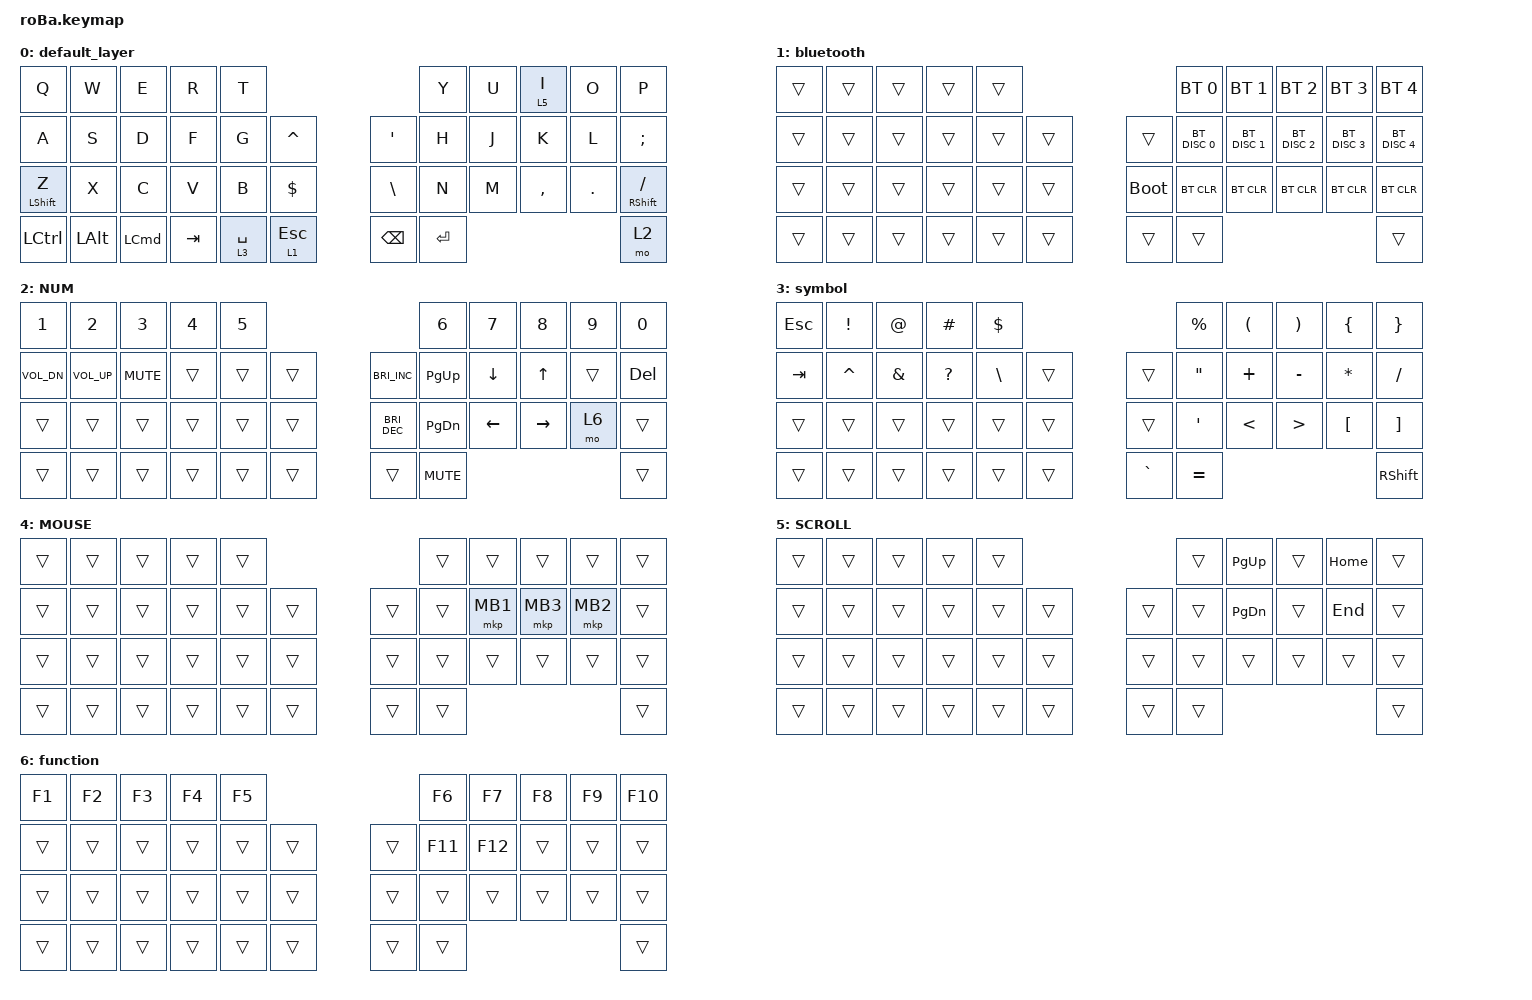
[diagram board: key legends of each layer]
#include <behaviors.dtsi>
#include <dt-bindings/zmk/bt.h>
#include <dt-bindings/zmk/keys.h>
#include <dt-bindings/zmk/pointing.h>

&mt {
    flavor = "balanced";
    quick-tap-ms = <0>;
};

&trackball {
    automouse-layer = <4>;
    scroll-layers = <5>;

    // arrows {
    //     layers = <3>;
    //     bindings =
    //         <&kp RIGHT_ARROW>,
    //         <&kp LEFT_ARROW>,
    //         <&kp UP_ARROW>,
    //         <&kp DOWN_ARROW>;
    //     tick = <10>;
    //     wait-ms = <5>;
    //     tap-ms = <5>;
    // };
};

/ {
    combos {
        compatible = "zmk,combos";

        esc {
            bindings = <&kp ESCAPE>;
            key-positions = <0 1>;
        };

        minus {
            bindings = <&kp MINUS>;
            key-positions = <7 8>;
        };

        eq {
            bindings = <&kp EQUAL>;
            key-positions = <8 9>;
        };

        backslash {
            bindings = <&kp BACKSLASH>;
            key-positions = <21 20>;
        };
    };

    macros {
        to_layer_0: to_layer_0 {
            compatible = "zmk,behavior-macro-one-param";
            #binding-cells = <1>;
            bindings = <&to 0 &macro_param_1to1 &kp MACRO_PLACEHOLDER>;
            label = "TO_LAYER_0";
        };
    };

    behaviors {
        lt_to_layer_0: lt_to_layer_0 {
            compatible = "zmk,behavior-hold-tap";
            label = "LAYER_TAP_TO_0";
            bindings = <&mo>, <&to_layer_0>;

            #binding-cells = <2>;
            tapping-term-ms = <200>;
        };
    };

    keymap {
        compatible = "zmk,keymap";

        default_layer {
            bindings = <
&kp Q             &kp W         &kp E             &kp R    &kp T                                                               &kp Y      &kp U  &lt 5 I    &kp O    &kp P
&kp A             &kp S         &kp D             &kp F    &kp G                   &kp CARET                    &kp SQT        &kp H      &kp J  &kp K      &kp L    &kp SEMICOLON
&mt LEFT_SHIFT Z  &kp X         &kp C             &kp V    &kp B                   &kp DOLLAR                   &kp BACKSLASH  &kp N      &kp M  &kp COMMA  &kp DOT  &mt RIGHT_SHIFT SLASH
&kp LCTRL         &kp LEFT_ALT  &kp LEFT_COMMAND  &kp TAB  &lt_to_layer_0 3 SPACE  &lt_to_layer_0 1 ESCAPE      &kp BACKSPACE  &kp ENTER                             &mo 2
            >;
        };

        bluetooth {
            bindings = <
&trans  &trans  &trans  &trans  &trans                           &bt BT_SEL 0   &bt BT_SEL 1   &bt BT_SEL 2   &bt BT_SEL 3   &bt BT_SEL 4
&trans  &trans  &trans  &trans  &trans  &trans      &trans       &bt BT_DISC 0  &bt BT_DISC 1  &bt BT_DISC 2  &bt BT_DISC 3  &bt BT_DISC 4
&trans  &trans  &trans  &trans  &trans  &trans      &bootloader  &bt BT_CLR     &bt BT_CLR     &bt BT_CLR     &bt BT_CLR     &bt BT_CLR
&trans  &trans  &trans  &trans  &trans  &trans      &trans       &trans                                                      &trans
            >;
        };

        NUM {
            bindings = <
&kp NUMBER_1  &kp NUMBER_2  &kp NUMBER_3  &kp NUMBER_4  &kp NUMBER_5                             &kp NUMBER_6   &kp NUMBER_7  &kp NUMBER_8  &kp NUMBER_9  &kp NUMBER_0
&kp C_VOL_DN  &kp C_VOL_UP  &kp K_MUTE    &trans        &trans        &trans      &kp C_BRI_INC  &kp PAGE_UP    &kp DOWN      &kp UP_ARROW  &trans        &kp DELETE
&trans        &trans        &trans        &trans        &trans        &trans      &kp C_BRI_DEC  &kp PAGE_DOWN  &kp LEFT      &kp RIGHT     &mo 6         &trans
&trans        &trans        &trans        &trans        &trans        &trans      &trans         &kp C_MUTE                                               &trans
            >;
        };

        symbol {
            bindings = <
&kp ESC  &kp EXCLAMATION  &kp AT_SIGN    &kp HASH      &kp DOLLAR                            &kp PERCENT        &kp LEFT_PARENTHESIS  &kp RIGHT_PARENTHESIS  &kp LEFT_BRACE    &kp RIGHT_BRACE
&kp TAB  &kp CARET        &kp AMPERSAND  &kp QUESTION  &kp BACKSLASH  &trans      &trans     &kp DOUBLE_QUOTES  &kp PLUS              &kp MINUS              &kp ASTERISK      &kp SLASH
&trans   &trans           &trans         &trans        &trans         &trans      &trans     &kp SINGLE_QUOTE   &kp LESS_THAN         &kp GREATER_THAN       &kp LEFT_BRACKET  &kp RIGHT_BRACKET
&trans   &trans           &trans         &trans        &trans         &trans      &kp GRAVE  &kp EQUAL                                                                         &kp RIGHT_SHIFT
            >;
        };

        MOUSE {
            bindings = <
&trans  &trans  &trans  &trans  &trans                      &trans  &trans    &trans    &trans    &trans
&trans  &trans  &trans  &trans  &trans  &trans      &trans  &trans  &mkp MB1  &mkp MB3  &mkp MB2  &trans
&trans  &trans  &trans  &trans  &trans  &trans      &trans  &trans  &trans    &trans    &trans    &trans
&trans  &trans  &trans  &trans  &trans  &trans      &trans  &trans                                &trans
            >;
        };

        SCROLL {
            bindings = <
&trans  &trans  &trans  &trans  &trans                      &trans  &kp PAGE_UP    &trans  &kp HOME  &trans
&trans  &trans  &trans  &trans  &trans  &trans      &trans  &trans  &kp PAGE_DOWN  &trans  &kp END   &trans
&trans  &trans  &trans  &trans  &trans  &trans      &trans  &trans  &trans         &trans  &trans    &trans
&trans  &trans  &trans  &trans  &trans  &trans      &trans  &trans                                   &trans
            >;
        };

        function {
            bindings = <
&kp F1  &kp F2  &kp F3  &kp F4  &kp F5                      &kp F6   &kp F7   &kp F8  &kp F9  &kp F10
&trans  &trans  &trans  &trans  &trans  &trans      &trans  &kp F11  &kp F12  &trans  &trans  &trans
&trans  &trans  &trans  &trans  &trans  &trans      &trans  &trans   &trans   &trans  &trans  &trans
&trans  &trans  &trans  &trans  &trans  &trans      &trans  &trans                            &trans
            >;
        };
    };
};
